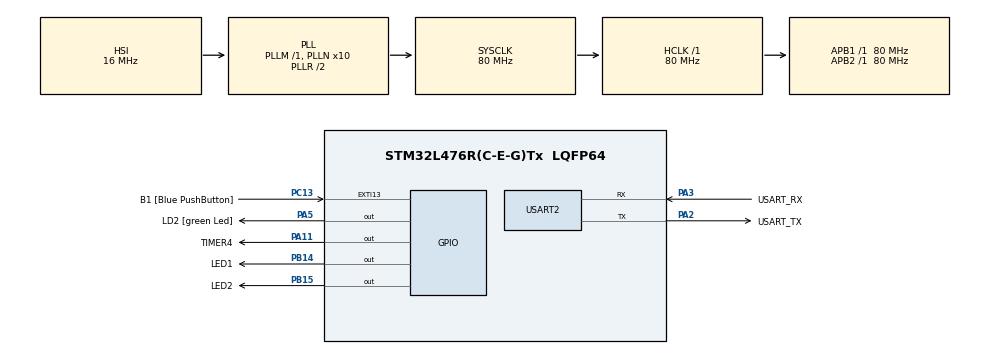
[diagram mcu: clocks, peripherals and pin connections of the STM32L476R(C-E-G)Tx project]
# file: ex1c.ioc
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Mcu.Family=STM32L4
Mcu.Name=STM32L476R(C-E-G)Tx
Mcu.Package=LQFP64
NVIC.PriorityGroup=NVIC_PRIORITYGROUP_4
NVIC.USART2_IRQn=true\:0\:0\:false\:false\:true\:true\:true
PA11.GPIO_Label=TIMER4
PA11.Signal=GPIO_Output
PA13\ (JTMS-SWDIO).GPIO_Label=TMS
PA13\ (JTMS-SWDIO).Mode=Serial_Wire
PA13\ (JTMS-SWDIO).Signal=SYS_JTMS-SWDIO
PA14\ (JTCK-SWCLK).GPIO_Label=TCK
PA14\ (JTCK-SWCLK).Mode=Serial_Wire
PA14\ (JTCK-SWCLK).Signal=SYS_JTCK-SWCLK
PA2.GPIO_Label=USART_TX
PA2.GPIO_Mode=GPIO_MODE_AF_PP
PA2.GPIO_PuPd=GPIO_NOPULL
PA2.GPIO_Speed=GPIO_SPEED_FREQ_VERY_HIGH
PA2.Mode=Asynchronous
PA2.Signal=USART2_TX
PA3.GPIO_Label=USART_RX
PA3.GPIO_Mode=GPIO_MODE_AF_PP
PA3.GPIO_PuPd=GPIO_NOPULL
PA3.GPIO_Speed=GPIO_SPEED_FREQ_VERY_HIGH
PA3.Mode=Asynchronous
PA3.Signal=USART2_RX
PA5.GPIO_Label=LD2 [green Led]
PA5.GPIO_ModeDefaultOutputPP=GPIO_MODE_OUTPUT_PP
PA5.GPIO_PuPd=GPIO_NOPULL
PA5.GPIO_Speed=GPIO_SPEED_FREQ_LOW
PA5.Signal=GPIO_Output
PB14.GPIO_Label=LED1
PB14.Signal=GPIO_Output
PB15.GPIO_Label=LED2
PB15.Signal=GPIO_Output
PB3\ (JTDO-TRACESWO).GPIO_Label=SWO
PB3\ (JTDO-TRACESWO).Signal=SYS_JTDO-SWO
PC13.GPIO_Label=B1 [Blue PushButton]
PC13.GPIO_ModeDefaultEXTI=GPIO_MODE_IT_FALLING
PC13.GPIO_PuPd=GPIO_NOPULL
PC13.Signal=GPXTI13
PC14-OSC32_IN\ (PC14).Mode=LSE-External-Oscillator
PC14-OSC32_IN\ (PC14).Signal=RCC_OSC32_IN
PC15-OSC32_OUT\ (PC15).Mode=LSE-External-Oscillator
PC15-OSC32_OUT\ (PC15).Signal=RCC_OSC32_OUT
PH0-OSC_IN\ (PH0).Signal=RCC_OSC_IN
PH1-OSC_OUT\ (PH1).Signal=RCC_OSC_OUT
ProjectManager.HeapSize=0x200
ProjectManager.StackSize=0x400
ProjectManager.TargetToolchain=STM32CubeIDE
RCC.ADCFreq_Value=64000000
RCC.AHBFreq_Value=80000000
RCC.APB1Freq_Value=80000000
RCC.APB1TimFreq_Value=80000000
RCC.APB2Freq_Value=80000000
RCC.APB2TimFreq_Value=80000000
RCC.CortexFreq_Value=80000000
RCC.HCLKFreq_Value=80000000
RCC.HSE_VALUE=8000000
RCC.HSI_VALUE=16000000
RCC.MSI_VALUE=4000000
RCC.PLLN=10
RCC.PLLSourceVirtual=RCC_PLLSOURCE_HSI
RCC.PREFETCH_ENABLE=1
RCC.SYSCLKFreq_VALUE=80000000
RCC.SYSCLKSource=RCC_SYSCLKSOURCE_PLLCLK
RCC.USBFreq_Value=64000000
RCC.VCOOutputFreq_Value=160000000
USART2.VirtualMode-Asynchronous=VM_ASYNC
board=NUCLEO-L476RG

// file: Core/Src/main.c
/* USER CODE BEGIN Header */
/**
  ******************************************************************************
  * @file           : main.c
  * @brief          : Main program body
  ******************************************************************************
  * @attention
  *
  * <h2><center>&copy; Copyright (c) 2021 STMicroelectronics.
  * All rights reserved.</center></h2>
  *
  * This software component is licensed by ST under BSD 3-Clause license,
  * the "License"; You may not use this file except in compliance with the
  * License. You may obtain a copy of the License at:
  *                        opensource.org/licenses/BSD-3-Clause
  *
  ******************************************************************************
  */
/* USER CODE END Header */
#include "main.h"
#include "usart.h"
#include "gpio.h"

/* USER CODE BEGIN Includes */
#include <stdio.h>
/* USER CODE END Includes */

/* USER CODE BEGIN PV */
uint16_t Received;
/* USER CODE END PV */

void SystemClock_Config(void);
/* USER CODE BEGIN PFP */
void HAL_UART_RxCpltCallback(UART_HandleTypeDef *huart) {
	uint16_t Data[50];
	static uint8_t NumberOfLED=0;
	uint16_t size = 0;
	if(huart->Instance == USART2){

		switch(Received){

		case 'a':
			size=sprintf((char*)Data, "%c <- wybor sterowania dioda podlaczona do zlacza LED1 \n\r", Received);
			NumberOfLED=0;
			break;
		case 'b':
			size=sprintf((char*)Data, "%c <- wybor sterowania dioda podlaczona do zlacza LED2 \n\r", Received);
			NumberOfLED=1;
			break;
		case 'c':
			size=sprintf((char*)Data, "%c <- wybor sterowania dioda podlaczona do zlacza TIMER4 \n\r", Received);
			NumberOfLED=2;
			break;
		case '1':
			if(NumberOfLED==0){
				size=sprintf((char*)Data, "%c <- wlaczenie diody LED1 \n\r", Received);
				HAL_GPIO_WritePin(LED1_GPIO_Port, LED1_Pin, GPIO_PIN_SET);
			}
			else if(NumberOfLED==1){
				size=sprintf((char*)Data, "%c <- wlaczenie diody LED2 \n\r", Received);
				HAL_GPIO_WritePin(LED2_GPIO_Port, LED2_Pin, GPIO_PIN_SET);
			}
			else if(NumberOfLED==2){
				size=sprintf((char*)Data, "%c <- wlaczenie diody TIMER4 \n\r", Received);
				HAL_GPIO_WritePin(TIMER4_GPIO_Port, TIMER4_Pin, GPIO_PIN_SET);
			}
			break;
		case '0':
			if(NumberOfLED==0){
				size=sprintf((char*)Data, "%c <- wylaczenie diody LED1 \n\r", Received);
				HAL_GPIO_WritePin(LED1_GPIO_Port, LED1_Pin, GPIO_PIN_RESET);

			}
			else if(NumberOfLED==1){
				size=sprintf((char*)Data, "%c <- wylaczenie diody LED2 \n\r", Received);
				HAL_GPIO_WritePin(LED2_GPIO_Port, LED2_Pin, GPIO_PIN_RESET);
			}
			else if(NumberOfLED==2){
				size=sprintf((char*)Data, "%c <- wylaczenie diody TIMER4 \n\r", Received);
				HAL_GPIO_WritePin(TIMER4_GPIO_Port, TIMER4_Pin, GPIO_PIN_RESET);
			}
			break;
		default:
			size=sprintf((char*)Data, "%c <- Ignorowanie komendy, wciaz aktywne poprzednie zlacze \n\r", Received);
			break;
		}
			HAL_UART_Transmit_IT(&huart2, Data, size);
			HAL_UART_Receive_IT(&huart2, &Received, 1);

	}
}
/* USER CODE END PFP */

int main(void)
{

  /* MCU Configuration--------------------------------------------------------*/

  /* Reset of all peripherals, Initializes the Flash interface and the Systick. */
  HAL_Init();

  /* Configure the system clock */
  SystemClock_Config();

  /* Initialize all configured peripherals */
  MX_GPIO_Init();
  MX_USART2_UART_Init();
  /* USER CODE BEGIN 2 */
  HAL_UART_Receive_IT(&huart2, &Received, 1);
  /* USER CODE END 2 */

  /* Infinite loop */
  while (1)
  {

  }
}

void SystemClock_Config(void)
{
  RCC_OscInitTypeDef RCC_OscInitStruct = {0};
  RCC_ClkInitTypeDef RCC_ClkInitStruct = {0};
  RCC_PeriphCLKInitTypeDef PeriphClkInit = {0};

  /** Initializes the RCC Oscillators according to the specified parameters
  * in the RCC_OscInitTypeDef structure.
  */
  RCC_OscInitStruct.OscillatorType = RCC_OSCILLATORTYPE_HSI;
  RCC_OscInitStruct.HSIState = RCC_HSI_ON;
  RCC_OscInitStruct.HSICalibrationValue = RCC_HSICALIBRATION_DEFAULT;
  RCC_OscInitStruct.PLL.PLLState = RCC_PLL_ON;
  RCC_OscInitStruct.PLL.PLLSource = RCC_PLLSOURCE_HSI;
  RCC_OscInitStruct.PLL.PLLM = 1;
  RCC_OscInitStruct.PLL.PLLN = 10;
  RCC_OscInitStruct.PLL.PLLP = RCC_PLLP_DIV7;
  RCC_OscInitStruct.PLL.PLLQ = RCC_PLLQ_DIV2;
  RCC_OscInitStruct.PLL.PLLR = RCC_PLLR_DIV2;
  if (HAL_RCC_OscConfig(&RCC_OscInitStruct) != HAL_OK)
  {
    Error_Handler();
  }
  /** Initializes the CPU, AHB and APB buses clocks
  */
  RCC_ClkInitStruct.ClockType = RCC_CLOCKTYPE_HCLK|RCC_CLOCKTYPE_SYSCLK
                              |RCC_CLOCKTYPE_PCLK1|RCC_CLOCKTYPE_PCLK2;
  RCC_ClkInitStruct.SYSCLKSource = RCC_SYSCLKSOURCE_PLLCLK;
  RCC_ClkInitStruct.AHBCLKDivider = RCC_SYSCLK_DIV1;
  RCC_ClkInitStruct.APB1CLKDivider = RCC_HCLK_DIV1;
  RCC_ClkInitStruct.APB2CLKDivider = RCC_HCLK_DIV1;

  if (HAL_RCC_ClockConfig(&RCC_ClkInitStruct, FLASH_LATENCY_4) != HAL_OK)
  {
    Error_Handler();
  }
  PeriphClkInit.PeriphClockSelection = RCC_PERIPHCLK_USART2;
  PeriphClkInit.Usart2ClockSelection = RCC_USART2CLKSOURCE_PCLK1;
  if (HAL_RCCEx_PeriphCLKConfig(&PeriphClkInit) != HAL_OK)
  {
    Error_Handler();
  }
  /** Configure the main internal regulator output voltage
  */
  if (HAL_PWREx_ControlVoltageScaling(PWR_REGULATOR_VOLTAGE_SCALE1) != HAL_OK)
  {
    Error_Handler();
  }
}

void Error_Handler(void)
{
}

/************************ (C) COPYRIGHT STMicroelectronics *****END OF FILE****/
